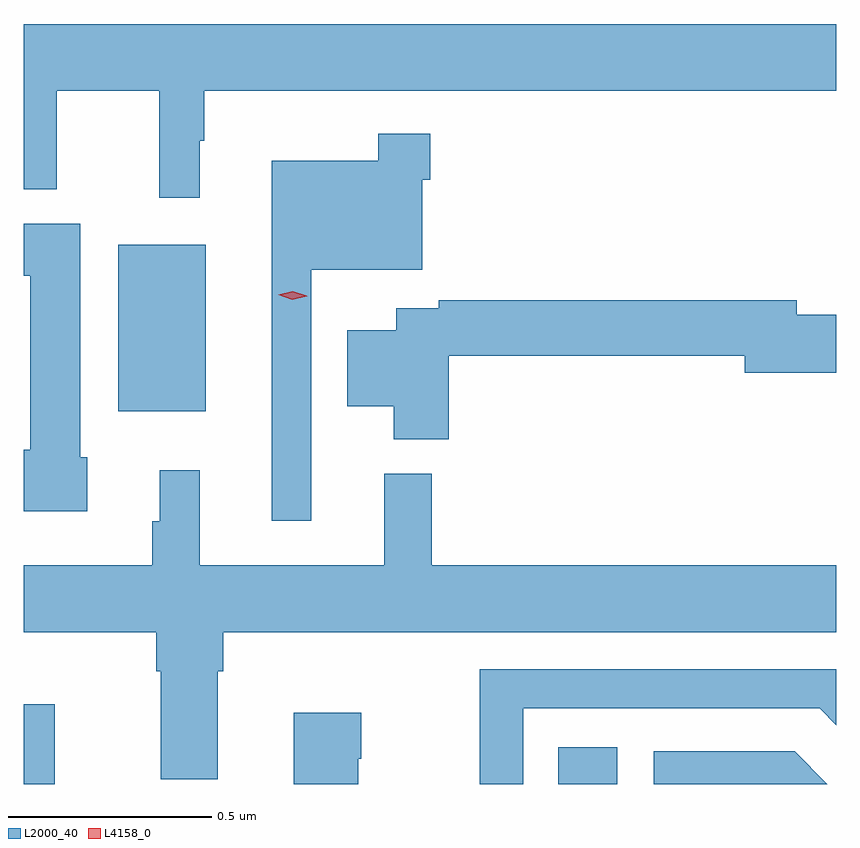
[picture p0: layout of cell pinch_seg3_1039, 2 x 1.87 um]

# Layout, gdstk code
import gdstk
lib = gdstk.Library(unit=1e-6, precision=1e-09)
def R(c, l, rs):  # rectangles x0, y0, x1, y1
    for r in rs: c.add(gdstk.rectangle(r[:2], r[2:], *l))
def P(c, l, *ps):  # polygons
    for p in ps: c.add(gdstk.Polygon(p, *l))
L2000_40 = (2000, 40)
L4158_0 = (4158, 0)

pinch_seg3_1039 = lib.new_cell('pinch_seg3_1039')
R(pinch_seg3_1039, L2000_40, [(508.779,675.234,508.856,675.43), (510.094,675.234,510.24,675.325), (509.012,676.151,509.227,676.561)])
P(pinch_seg3_1039, L2000_40, [(509.212,676.817),(509.224,676.817),(509.224,676.94),(510.779,676.94),(510.779,677.104),(508.779,677.104),(508.779,676.697),(508.861,676.697),(508.861,676.94),(509.113,676.94),(509.113,676.677),(509.212,676.677)],
  [(509.487,676.499),(509.76,676.499),(509.76,676.721),(509.78,676.721),(509.78,676.834),(509.652,676.834),(509.652,676.768),(509.39,676.768),(509.39,675.882),(509.487,675.882)],
  [(508.936,676.038),(508.918,676.038),(508.918,676.612),(508.779,676.612),(508.779,676.484),(508.796,676.484),(508.796,676.057),(508.779,676.057),(508.779,675.905),(508.936,675.905)],
  [(509.825,676.288),(510.554,676.288),(510.554,676.246),(510.779,676.246),(510.779,676.388),(510.682,676.388),(510.682,676.424),(509.8,676.424),(509.8,676.404),(509.696,676.404),(509.696,676.351),(509.576,676.351),(509.576,676.163),(509.69,676.163),(509.69,676.082),(509.825,676.082)],
  [(509.257,675.512),(509.27,675.512),(509.27,675.608),(510.779,675.608),(510.779,675.772),(509.783,675.772),(509.783,675.997),(509.666,675.997),(509.666,675.772),(509.213,675.772),(509.213,676.006),(509.114,676.006),(509.114,675.881),(509.095,675.881),(509.095,675.772),(508.779,675.772),(508.779,675.608),(509.105,675.608),(509.105,675.512),(509.117,675.512),(509.117,675.246),(509.257,675.246)],
  [(510.009,675.42),(510.738,675.42),(510.779,675.379),(510.779,675.516),(509.901,675.516),(509.901,675.234),(510.009,675.234)],
  [(509.602,675.296),(509.61,675.296),(509.61,675.409),(509.444,675.409),(509.444,675.234),(509.602,675.234)],
  [(510.676,675.315),(510.33,675.315),(510.33,675.234),(510.757,675.234)])
P(pinch_seg3_1039, L4158_0, [(509.44,676.426),(509.405,676.438),(509.405,676.438),(509.405,676.438),(509.441,676.446),(509.476,676.435),(509.477,676.434),(509.476,676.434)])

lib.write_gds('pinch_seg3_1039.gds')
